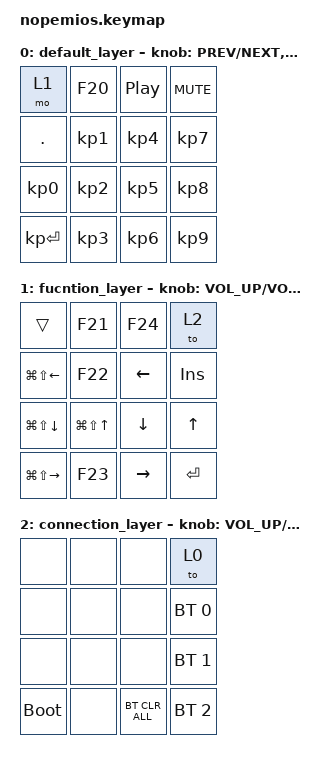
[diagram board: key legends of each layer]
/*
 * Copyright (c) 2020 The ZMK Contributors
 *
 * SPDX-License-Identifier: MIT
 */

#include <behaviors.dtsi>
#include <dt-bindings/zmk/keys.h>
#include <dt-bindings/zmk/bt.h>

#define DEFAULT    0
#define FUNCTION   1
#define CONNECTION 2

&left_encoder { status = "okay"; };
&right_encoder { status = "okay"; };


/ {
    keymap {
        compatible = "zmk,keymap";

        default_layer {
            bindings = <
                &mo 1         &kp F20      &kp C_PP      &kp C_MUTE
                &kp DOT       &kp KP_N1       &kp KP_N4        &kp KP_N7
                &kp KP_N0       &kp KP_N2       &kp KP_N5        &kp KP_N8
                &kp KP_ENTER     &kp KP_N3       &kp KP_N6        &kp KP_N9
            >;
            
            sensor-bindings = <&inc_dec_kp C_PREV C_NEXT &inc_dec_kp C_VOL_UP C_VOL_DN>;

        };

        fucntion_layer {
            bindings = <
                &trans                &kp F21             &kp F24        &to 2
                &kp LG(LS(LEFT))      &kp F22             &kp LEFT        &kp INS
                &kp LG(LS(DOWN))      &kp LG(LS(UP))      &kp DOWN        &kp UP
                &kp LG(LS(RIGHT))     &kp F23             &kp RIGHT      &kp ENTER
            >;
            
            sensor-bindings = <&inc_dec_kp C_VOL_UP C_VOL_DN &inc_dec_kp C_VOL_DN C_VOL_UP>;

        };

        connection_layer {
            bindings = <
                &none           &none         &none               &to 0
                &none           &none         &none               &bt BT_SEL 0
                &none           &none         &none               &bt BT_SEL 1
                &bootloader     &none         &bt BT_CLR_ALL      &bt BT_SEL 2
            >;
            
            sensor-bindings = <&inc_dec_kp C_VOL_UP C_VOL_DN &inc_dec_kp C_VOL_DN C_VOL_UP>;

        };


    };
};
